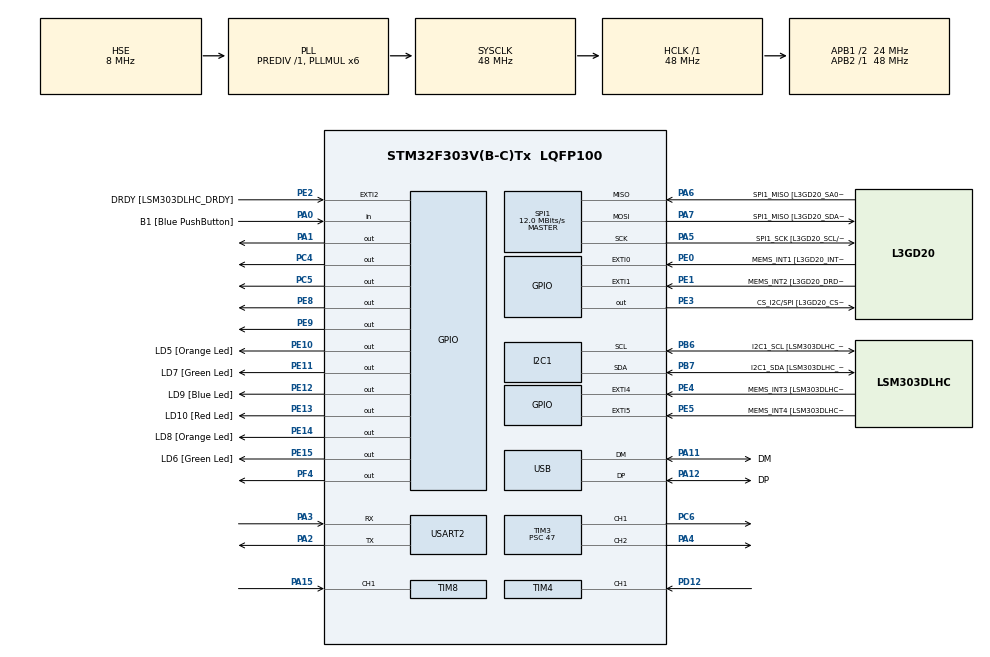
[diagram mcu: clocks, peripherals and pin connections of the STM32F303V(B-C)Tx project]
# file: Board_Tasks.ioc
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I2C1.Timing=0x00201D2B
I2C1.Timing-I2C=0x2000090E
Mcu.Family=STM32F3
Mcu.Name=STM32F303V(B-C)Tx
Mcu.Package=LQFP100
NVIC.PriorityGroup=NVIC_PRIORITYGROUP_0
NVIC.TIM2_IRQn=true\:0\:0\:false\:false\:true\:true\:true\:true
NVIC.TIM4_IRQn=true\:0\:0\:false\:false\:true\:true\:true\:true
NVIC.TIM8_CC_IRQn=true\:0\:0\:false\:false\:true\:true\:true\:true
PA0.GPIO_Label=B1 [Blue PushButton]
PA0.Signal=GPIO_Input
PA1.Signal=GPIO_Output
PA11.GPIO_Label=DM
PA11.Mode=Device
PA11.Signal=USB_DM
PA12.GPIO_Label=DP
PA12.Mode=Device
PA12.Signal=USB_DP
PA13.GPIO_Label=SWDIO
PA13.Mode=Serial_Wire
PA13.Signal=SYS_JTMS-SWDIO
PA14.GPIO_Label=SWCLK
PA14.Mode=Serial_Wire
PA14.Signal=SYS_JTCK-SWCLK
PA15.Signal=S_TIM8_CH1
PA2.Mode=Asynchronous
PA2.Signal=USART2_TX
PA3.Mode=Asynchronous
PA3.Signal=USART2_RX
PA4.Signal=S_TIM3_CH2
PA5.GPIO_Label=SPI1_SCK [L3GD20_SCL/SPC]
PA5.Mode=Full_Duplex_Master
PA5.Signal=SPI1_SCK
PA6.GPIO_Label=SPI1_MISO [L3GD20_SA0/SDO]
PA6.Mode=Full_Duplex_Master
PA6.Signal=SPI1_MISO
PA7.GPIO_Label=SPI1_MISO [L3GD20_SDA/SDI/SDO]
PA7.Mode=Full_Duplex_Master
PA7.Signal=SPI1_MOSI
PB3.GPIO_Label=SWO
PB3.Signal=SYS_JTDO-TRACESWO
PB6.GPIO_Label=I2C1_SCL [LSM303DLHC_SCL]
PB6.GPIO_Pu=GPIO_PULLUP
PB6.Mode=I2C
PB6.Signal=I2C1_SCL
PB7.GPIO_Label=I2C1_SDA [LSM303DLHC_SDA]
PB7.GPIO_Pu=GPIO_PULLUP
PB7.Mode=I2C
PB7.Signal=I2C1_SDA
PC14-OSC32_IN.GPIO_Label=OSC32_IN
PC14-OSC32_IN.Signal=RCC_OSC32_IN
PC15-OSC32_OUT.GPIO_Label=OSC32_OUT
PC15-OSC32_OUT.Signal=RCC_OSC32_OUT
PC4.Signal=GPIO_Output
PC5.Signal=GPIO_Output
PC6.Signal=S_TIM3_CH1
PD12.Signal=S_TIM4_CH1
PE0.GPIO_Label=MEMS_INT1 [L3GD20_INT1]
PE0.GPIO_ModeDefaultEXTI=GPIO_MODE_EVT_RISING
PE0.Signal=GPXTI0
PE1.GPIO_Label=MEMS_INT2 [L3GD20_DRDY/INT2]
PE1.GPIO_ModeDefaultEXTI=GPIO_MODE_EVT_RISING
PE1.Signal=GPXTI1
PE10.GPIO_Label=LD5 [Orange Led]
PE10.Signal=GPIO_Output
PE11.GPIO_Label=LD7 [Green Led]
PE11.Signal=GPIO_Output
PE12.GPIO_Label=LD9 [Blue Led]
PE12.Signal=GPIO_Output
PE13.GPIO_Label=LD10 [Red Led]
PE13.Signal=GPIO_Output
PE14.GPIO_Label=LD8 [Orange Led]
PE14.Signal=GPIO_Output
PE15.GPIO_Label=LD6 [Green Led]
PE15.Signal=GPIO_Output
PE2.GPIO_Label=DRDY [LSM303DLHC_DRDY]
PE2.GPIO_ModeDefaultEXTI=GPIO_MODE_EVT_RISING
PE2.Signal=GPXTI2
PE3.GPIO_Label=CS_I2C/SPI [L3GD20_CS_I2C/SPI]
PE3.Signal=GPIO_Output
PE4.GPIO_Label=MEMS_INT3 [LSM303DLHC_INT1]
PE4.GPIO_ModeDefaultEXTI=GPIO_MODE_EVT_RISING
PE4.Signal=GPXTI4
PE5.GPIO_Label=MEMS_INT4 [LSM303DLHC_INT2]
PE5.GPIO_ModeDefaultEXTI=GPIO_MODE_EVT_RISING
PE5.Signal=GPXTI5
PE8.Signal=GPIO_Output
PE9.Signal=GPIO_Output
PF0-OSC_IN.GPIO_Label=OSC_IN
PF0-OSC_IN.Mode=HSE-External-Clock-Source
PF0-OSC_IN.Signal=RCC_OSC_IN
PF1-OSC_OUT.GPIO_Label=OSC_OUT
PF1-OSC_OUT.Signal=RCC_OSC_OUT
PF4.Signal=GPIO_Output
ProjectManager.HeapSize=0x200
ProjectManager.StackSize=0x400
ProjectManager.TargetToolchain=CMake
RCC.AHBFreq_Value=48000000
RCC.APB1CLKDivider=RCC_HCLK_DIV2
RCC.APB1Freq_Value=24000000
RCC.APB1TimFreq_Value=48000000
RCC.APB2Freq_Value=48000000
RCC.APB2TimFreq_Value=48000000
RCC.CortexFreq_Value=48000000
RCC.HCLKFreq_Value=48000000
RCC.HSE_VALUE=8000000
RCC.HSI_VALUE=8000000
RCC.LSE_VALUE=32768
RCC.PLLMUL=RCC_PLL_MUL6
RCC.SYSCLKFreq_VALUE=48000000
RCC.SYSCLKSourceVirtual=RCC_SYSCLKSOURCE_PLLCLK
RCC.USBFreq_Value=48000000
SH.S_TIM3_CH1.0=TIM3_CH1,PWM Generation1 CH1
SH.S_TIM3_CH2.0=TIM3_CH2,PWM Generation2 CH2
SH.S_TIM4_CH1.0=TIM4_CH1,Input_Capture1_from_TI1
SH.S_TIM8_CH1.0=TIM8_CH1,Input_Capture1_from_TI1
SPI1.BaudRatePrescaler=SPI_BAUDRATEPRESCALER_4
SPI1.BaudRatePrescaler-Full_Duplex_Master=SPI_BAUDRATEPRESCALER_2
SPI1.CLKPhase=SPI_PHASE_2EDGE
SPI1.CLKPolarity=SPI_POLARITY_HIGH
SPI1.CalculateBaudRate=12.0 MBits/s
SPI1.CalculateBaudRate-Full_Duplex_Master=24.0 MBits/s
SPI1.DataSize=SPI_DATASIZE_8BIT
SPI1.Direction=SPI_DIRECTION_2LINES
SPI1.Mode=SPI_MODE_MASTER
SPI1.Mode-Full_Duplex_Master=SPI_MODE_MASTER
SPI1.VirtualType=VM_MASTER
TIM2.Period=99
TIM2.Prescaler=4799
TIM3.Channel-PWM\ Generation1\ CH1=TIM_CHANNEL_1
TIM3.Channel-PWM\ Generation2\ CH2=TIM_CHANNEL_2
TIM3.Prescaler=47
TIM4.Channel-Input_Capture1_from_TI1=TIM_CHANNEL_1
TIM4.Prescaler=71
TIM8.Channel-Input_Capture1_from_TI1=TIM_CHANNEL_1
TIM8.Prescaler=71
USART2.VirtualMode-Asynchronous=VM_ASYNC
VP_TIM2_VS_ClockSourceINT.Mode=Internal
board=STM32F3DISCOVERY

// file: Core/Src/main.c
/* USER CODE BEGIN Header */
/**
 ******************************************************************************
 * @file           : main.c
 * @brief          : Main program body
 ******************************************************************************
 * @attention
 *
 * Copyright (c) 2025 STMicroelectronics.
 * All rights reserved.
 *
 * This software is licensed under terms that can be found in the LICENSE file
 * in the root directory of this software component.
 * If no LICENSE file comes with this software, it is provided AS-IS.
 *
 ******************************************************************************
 */
/* USER CODE END Header */
#include "main.h"

/* USER CODE BEGIN Includes */
#include "string.h"
#include <stdio.h>
#include <math.h>
#include <stdarg.h>

#include "config.h"
#include "pid.h"
#include "sensors.h"
#include "motors.h"
#include "bluetooth.h"

#ifndef M_PI
#define M_PI 3.14159265358979323846f
#endif
/* USER CODE END Includes */

/* USER CODE BEGIN PD */

// Accelerometer (LSM303AGR) over I2C
#define LSM303AGR_ACC_ADDR (0x19 << 1)
#define CTRL_REG1_A 0x20
#define CTRL_REG4_A 0x23
#define OUT_X_L_A 0x28

// Gyro (I3G4250D) over SPI
#define WHO_AM_I_G 0x0F
#define CTRL_REG1_G 0x20
#define CTRL_REG4_G 0x23
#define OUT_Y_L_G 0x2A
#define OUT_Y_H_G 0x2B

// Gyro SPI CS on PE3 (built-in on F3-Discovery)
#define CS_LOW() HAL_GPIO_WritePin(GPIOE, CS_I2C_SPI_Pin, GPIO_PIN_RESET)
#define CS_HIGH() HAL_GPIO_WritePin(GPIOE, CS_I2C_SPI_Pin, GPIO_PIN_SET)

// LEDs we use for GPIO tasks
#define LED_100HZ_PORT GPIOE // LD3 -> PE9
#define LED_100HZ_PIN GPIO_PIN_9

#define LED_10HZ_PORT GPIOE // LD4 -> PE8
#define LED_10HZ_PIN GPIO_PIN_8

#define BT_BUFFER_SIZE 128

#define PWM_MIN 200 // don't go below ~20% or motor may stall
#define PWM_MAX 999
#define DT 0.001f // control loop runs every 50 ms (20 Hz)

volatile char bt_rx_buffer[BT_BUFFER_SIZE];
volatile uint8_t bt_rx_index = 0;
volatile uint8_t bt_data_ready = 0;
volatile uint8_t imu_streaming_enabled = 0;
volatile uint8_t imu_send_counter = 0;

// Initialize PIDs
BalancePID_t balance_pid = {
    .setpoint = 0.0f, // 0 degrees = upright
    .kp = 10.0f,      // Start values - tune these!
    .ki = 0.0f,       // Start with 0, add later if needed
    .kd = 0.0f,
    .integral = 0.0f,
    .prev_error = 0.0f};

/* USER CODE END PD */

I2C_HandleTypeDef hi2c1;

SPI_HandleTypeDef hspi1;

TIM_HandleTypeDef htim2;
TIM_HandleTypeDef htim3;
TIM_HandleTypeDef htim4;
TIM_HandleTypeDef htim8;

UART_HandleTypeDef huart2;

PCD_HandleTypeDef hpcd_USB_FS;

/* USER CODE BEGIN PV */

// Encoder setup
#define ENCODER_Pin GPIO_PIN_12
#define ENCODER_PORT GPIOD

// Constants
#define PPR 330 // pulses per revolution
#define RPM_CALC_INTERVAL 100

// Globals
uint32_t last_pid_time = 0;

volatile uint32_t last_rpm_calc_time = 0;
// Right motor encoder
volatile uint32_t encoder_right_count = 0;
volatile float rpm_right = 0.0f;

// Left motor encoder (NEW)
volatile uint32_t encoder_left_count = 0;
volatile float rpm_left = 0.0f;

SensorData sensor;

// shared between ISR and main
 float accAngleY = 0.0f; // tilt from accelerometer (deg)
 float angleX = 0.0f;    // fused angle (deg)
float dt = 0.01f;                // 100 Hz

volatile uint8_t flag_10Hz = 0; // set by ISR every 10 periods

/* USER CODE END PV */

void SystemClock_Config(void);
static void MX_GPIO_Init(void);
static void MX_I2C1_Init(void);
static void MX_SPI1_Init(void);
static void MX_TIM2_Init(void);
static void MX_USART2_UART_Init(void);
static void MX_USB_PCD_Init(void);
static void MX_TIM3_Init(void);
static void MX_TIM4_Init(void);
static void MX_TIM8_Init(void);
/* USER CODE BEGIN PFP */

// printf support over USART2
int _write(int file, char *ptr, int len);

/* USER CODE END PFP */

/* USER CODE BEGIN 0 */

// ===== BALANCE PID COMPUTE =====

int _write(int file, char *ptr, int len)
{
  HAL_UART_Transmit(&huart2, (uint8_t *)ptr, len, HAL_MAX_DELAY);
  return len;
}

/* USER CODE END 0 */

int main(void)
{

  /* MCU Configuration--------------------------------------------------------*/

  /* Reset of all peripherals, Initializes the Flash interface and the SyHAL_Init();

  /* Configure the system clock */
  SystemClock_Config();

  /* Initialize all configured peripherals */
  MX_GPIO_Init();
  MX_I2C1_Init();
  MX_SPI1_Init();
  MX_TIM2_Init();
  MX_USART2_UART_Init();
  MX_USB_PCD_Init();
  MX_TIM3_Init();
  MX_TIM4_Init();
  MX_TIM8_Init();
  /* USER CODE BEGIN 2 */

  HAL_TIM_PWM_Start(&htim3, TIM_CHANNEL_1);
  HAL_TIM_PWM_Start(&htim3, TIM_CHANNEL_2);
  __HAL_TIM_SET_COMPARE(&htim3, TIM_CHANNEL_1, 32768); // 50% of 65535
  __HAL_TIM_SET_COMPARE(&htim3, TIM_CHANNEL_2, 32768);
  Motor_SetSpeed(MOTOR_LEFT, 0);
  Motor_SetSpeed(MOTOR_RIGHT, 0);

  HAL_GPIO_WritePin(GPIOA, GPIO_PIN_1, GPIO_PIN_SET);
  HAL_GPIO_WritePin(GPIOF, GPIO_PIN_4, GPIO_PIN_RESET);
  HAL_TIM_PWM_Start(&htim3, TIM_CHANNEL_1);
  __HAL_TIM_SET_COMPARE(&htim3, TIM_CHANNEL_1, 800); // 50% duty cycle

  HAL_GPIO_WritePin(GPIOC, GPIO_PIN_4, GPIO_PIN_SET);   // BIN1
  HAL_GPIO_WritePin(GPIOC, GPIO_PIN_5, GPIO_PIN_RESET); // BIN2
  HAL_TIM_PWM_Start(&htim3, TIM_CHANNEL_2);             // Left PWM
  __HAL_TIM_SET_COMPARE(&htim3, TIM_CHANNEL_2, 800);    // 50% duty

  HAL_UART_Receive_IT(&huart2, (uint8_t *)&bt_rx_buffer[bt_rx_index], 1);

  // 3 & 4: Enable accelerometer and gyro
  Init_LSM();
  Init_Gyro();

  // Calibrate sensors
  Offset_LSM(&sensor);
  Calibrate_Gyro(&sensor);

  // Start TIM2 with interrupt -> ISR at 100 Hz
  HAL_TIM_Base_Start_IT(&htim2);

  printf("\r\n=== Self-Balancing Robot ===\r\n");
  printf("Balance PID: Kp=%.1f Ki=%.1f Kd=%.1f\r\n",
         balance_pid.kp, balance_pid.ki, balance_pid.kd);
  /* USER CODE END 2 */

  /* Infinite loop */

  /* USER CODE BEGIN WHILE */
  while (1)
  {
    // === 10ms Control Loop (100Hz) ===
    uint32_t now = HAL_GetTick();
    static uint32_t last_control_time = 0;

    if (now - last_control_time >= 10) // 100Hz control
    {
      last_control_time = now;
      float dt = 0.01f; // 10ms = 0.01s

      // --- SAFETY CHECK ---
      if (Is_Fallen(angleX))
      {
        Motor_SetSpeed(MOTOR_LEFT, 0);
        Motor_SetSpeed(MOTOR_RIGHT, 0);
        balance_pid.integral = 0.0f;
        printf("FALLEN! Angle: %.1f\r\n", angleX);
        continue;
      }

      // --- Balance PID (Angle -> PWM) ---
      float pwm = Balance_PID_Compute(&balance_pid, angleX, dt);

      // Apply same PWM to both motors
      Motor_SetSpeed(MOTOR_LEFT, (int16_t)pwm);
      Motor_SetSpeed(MOTOR_RIGHT, (int16_t)pwm);

      // --- Debug Output with Error ---
      static uint8_t print_counter = 0;
      print_counter++;
      if (print_counter >= 10) // Print every 100ms
      {
        print_counter = 0;
        float error = balance_pid.setpoint - angleX;
        printf("Ang:%.2f | Err:%.2f | PWM:%.0f | I:%.2f\r\n",
               angleX, error, pwm, balance_pid.integral);
      }
    }

    // Bluetooth commands
    if (bt_data_ready)
    {
      bt_data_ready = 0;
      printf("BT CMD: %s\r\n", (char *)bt_rx_buffer);
      ProcessBluetoothCommand((char *)bt_rx_buffer);
      memset((void *)bt_rx_buffer, 0, BT_BUFFER_SIZE);
      bt_rx_index = 0;
    }

    // 10Hz flag for other tasks
    if (flag_10Hz)
    {
      flag_10Hz = 0;
      HAL_GPIO_TogglePin(LED_10HZ_PORT, LED_10HZ_PIN);
    }

    /* USER CODE END WHILE */
  }
}

void SystemClock_Config(void)
{
  RCC_OscInitTypeDef RCC_OscInitStruct = {0};
  RCC_ClkInitTypeDef RCC_ClkInitStruct = {0};
  RCC_PeriphCLKInitTypeDef PeriphClkInit = {0};

  /** Initializes the RCC Oscillators according to the specified parameters
   * in the RCC_OscInitTypeDef structure.
   */
  RCC_OscInitStruct.OscillatorType = RCC_OSCILLATORTYPE_HSI | RCC_OSCILLATORTYPE_HSE;
  RCC_OscInitStruct.HSEState = RCC_HSE_BYPASS;
  RCC_OscInitStruct.HSEPredivValue = RCC_HSE_PREDIV_DIV1;
  RCC_OscInitStruct.HSIState = RCC_HSI_ON;
  RCC_OscInitStruct.HSICalibrationValue = RCC_HSICALIBRATION_DEFAULT;
  RCC_OscInitStruct.PLL.PLLState = RCC_PLL_ON;
  RCC_OscInitStruct.PLL.PLLSource = RCC_PLLSOURCE_HSE;
  RCC_OscInitStruct.PLL.PLLMUL = RCC_PLL_MUL6;
  if (HAL_RCC_OscConfig(&RCC_OscInitStruct) != HAL_OK)
  {
    Error_Handler();
  }

  /** Initializes the CPU, AHB and APB buses clocks
   */
  RCC_ClkInitStruct.ClockType = RCC_CLOCKTYPE_HCLK | RCC_CLOCKTYPE_SYSCLK | RCC_CLOCKTYPE_PCLK1 | RCC_CLOCKTYPE_PCLK2;
  RCC_ClkInitStruct.SYSCLKSource = RCC_SYSCLKSOURCE_PLLCLK;
  RCC_ClkInitStruct.AHBCLKDivider = RCC_SYSCLK_DIV1;
  RCC_ClkInitStruct.APB1CLKDivider = RCC_HCLK_DIV2;
  RCC_ClkInitStruct.APB2CLKDivider = RCC_HCLK_DIV1;

  if (HAL_RCC_ClockConfig(&RCC_ClkInitStruct, FLASH_LATENCY_1) != HAL_OK)
  {
    Error_Handler();
  }
  PeriphClkInit.PeriphClockSelection = RCC_PERIPHCLK_USB | RCC_PERIPHCLK_USART2 | RCC_PERIPHCLK_I2C1 | RCC_PERIPHCLK_TIM8;
  PeriphClkInit.Usart2ClockSelection = RCC_USART2CLKSOURCE_PCLK1;
  PeriphClkInit.I2c1ClockSelection = RCC_I2C1CLKSOURCE_HSI;
  PeriphClkInit.USBClockSelection = RCC_USBCLKSOURCE_PLL;
  PeriphClkInit.Tim8ClockSelection = RCC_TIM8CLK_HCLK;
  if (HAL_RCCEx_PeriphCLKConfig(&PeriphClkInit) != HAL_OK)
  {
    Error_Handler();
  }
}

static void MX_I2C1_Init(void)
{

  hi2c1.Instance = I2C1;
  hi2c1.Init.Timing = 0x00201D2B;
  hi2c1.Init.OwnAddress1 = 0;
  hi2c1.Init.AddressingMode = I2C_ADDRESSINGMODE_7BIT;
  hi2c1.Init.DualAddressMode = I2C_DUALADDRESS_DISABLE;
  hi2c1.Init.OwnAddress2 = 0;
  hi2c1.Init.OwnAddress2Masks = I2C_OA2_NOMASK;
  hi2c1.Init.GeneralCallMode = I2C_GENERALCALL_DISABLE;
  hi2c1.Init.NoStretchMode = I2C_NOSTRETCH_DISABLE;
  if (HAL_I2C_Init(&hi2c1) != HAL_OK)
  {
    Error_Handler();
  }

  /** Configure Analogue filter
   */
  if (HAL_I2CEx_ConfigAnalogFilter(&hi2c1, I2C_ANALOGFILTER_ENABLE) != HAL_OK)
  {
    Error_Handler();
  }

  /** Configure Digital filter
   */
  if (HAL_I2CEx_ConfigDigitalFilter(&hi2c1, 0) != HAL_OK)
  {
    Error_Handler();
  }
}

static void MX_SPI1_Init(void)
{

  /* SPI1 parameter configuration*/
  hspi1.Instance = SPI1;
  hspi1.Init.Mode = SPI_MODE_MASTER;
  hspi1.Init.Direction = SPI_DIRECTION_2LINES;
  hspi1.Init.DataSize = SPI_DATASIZE_8BIT;
  hspi1.Init.CLKPolarity = SPI_POLARITY_HIGH;
  hspi1.Init.CLKPhase = SPI_PHASE_2EDGE;
  hspi1.Init.NSS = SPI_NSS_SOFT;
  hspi1.Init.BaudRatePrescaler = SPI_BAUDRATEPRESCALER_4;
  hspi1.Init.FirstBit = SPI_FIRSTBIT_MSB;
  hspi1.Init.TIMode = SPI_TIMODE_DISABLE;
  hspi1.Init.CRCCalculation = SPI_CRCCALCULATION_DISABLE;
  hspi1.Init.CRCPolynomial = 7;
  hspi1.Init.CRCLength = SPI_CRC_LENGTH_DATASIZE;
  hspi1.Init.NSSPMode = SPI_NSS_PULSE_DISABLE;
  if (HAL_SPI_Init(&hspi1) != HAL_OK)
  {
    Error_Handler();
  }
}

static void MX_TIM2_Init(void)
{

  TIM_ClockConfigTypeDef sClockSourceConfig = {0};
  TIM_MasterConfigTypeDef sMasterConfig = {0};

  htim2.Instance = TIM2;
  htim2.Init.Prescaler = 4799;
  htim2.Init.CounterMode = TIM_COUNTERMODE_UP;
  htim2.Init.Period = 99;
  htim2.Init.ClockDivision = TIM_CLOCKDIVISION_DIV1;
  htim2.Init.AutoReloadPreload = TIM_AUTORELOAD_PRELOAD_DISABLE;
  if (HAL_TIM_Base_Init(&htim2) != HAL_OK)
  {
    Error_Handler();
  }
  sClockSourceConfig.ClockSource = TIM_CLOCKSOURCE_INTERNAL;
  if (HAL_TIM_ConfigClockSource(&htim2, &sClockSourceConfig) != HAL_OK)
  {
    Error_Handler();
  }
  sMasterConfig.MasterOutputTrigger = TIM_TRGO_RESET;
  sMasterConfig.MasterSlaveMode = TIM_MASTERSLAVEMODE_DISABLE;
  if (HAL_TIMEx_MasterConfigSynchronization(&htim2, &sMasterConfig) != HAL_OK)
  {
    Error_Handler();
  }
}

static void MX_TIM3_Init(void)
{

  TIM_MasterConfigTypeDef sMasterConfig = {0};
  TIM_OC_InitTypeDef sConfigOC = {0};

  htim3.Instance = TIM3;
  htim3.Init.Prescaler = 47;
  htim3.Init.CounterMode = TIM_COUNTERMODE_UP;
  htim3.Init.Period = 999;
  htim3.Init.ClockDivision = TIM_CLOCKDIVISION_DIV1;
  htim3.Init.AutoReloadPreload = TIM_AUTORELOAD_PRELOAD_DISABLE;
  if (HAL_TIM_PWM_Init(&htim3) != HAL_OK)
  {
    Error_Handler();
  }
  sMasterConfig.MasterOutputTrigger = TIM_TRGO_RESET;
  sMasterConfig.MasterSlaveMode = TIM_MASTERSLAVEMODE_DISABLE;
  if (HAL_TIMEx_MasterConfigSynchronization(&htim3, &sMasterConfig) != HAL_OK)
  {
    Error_Handler();
  }
  sConfigOC.OCMode = TIM_OCMODE_PWM1;
  sConfigOC.Pulse = 0;
  sConfigOC.OCPolarity = TIM_OCPOLARITY_HIGH;
  sConfigOC.OCFastMode = TIM_OCFAST_DISABLE;
  if (HAL_TIM_PWM_ConfigChannel(&htim3, &sConfigOC, TIM_CHANNEL_1) != HAL_OK)
  {
    Error_Handler();
  }
  if (HAL_TIM_PWM_ConfigChannel(&htim3, &sConfigOC, TIM_CHANNEL_2) != HAL_OK)
  {
    Error_Handler();
  }
  HAL_TIM_MspPostInit(&htim3);
}

static void MX_TIM4_Init(void)
{

  TIM_MasterConfigTypeDef sMasterConfig = {0};
  TIM_IC_InitTypeDef sConfigIC = {0};

  htim4.Instance = TIM4;
  htim4.Init.Prescaler = 71;
  htim4.Init.CounterMode = TIM_COUNTERMODE_UP;
  htim4.Init.Period = 65535;
  htim4.Init.ClockDivision = TIM_CLOCKDIVISION_DIV1;
  htim4.Init.AutoReloadPreload = TIM_AUTORELOAD_PRELOAD_DISABLE;
  if (HAL_TIM_IC_Init(&htim4) != HAL_OK)
  {
    Error_Handler();
  }
  sMasterConfig.MasterOutputTrigger = TIM_TRGO_RESET;
  sMasterConfig.MasterSlaveMode = TIM_MASTERSLAVEMODE_DISABLE;
  if (HAL_TIMEx_MasterConfigSynchronization(&htim4, &sMasterConfig) != HAL_OK)
  {
    Error_Handler();
  }
  sConfigIC.ICPolarity = TIM_INPUTCHANNELPOLARITY_RISING;
  sConfigIC.ICSelection = TIM_ICSELECTION_DIRECTTI;
  sConfigIC.ICPrescaler = TIM_ICPSC_DIV1;
  sConfigIC.ICFilter = 0;
  if (HAL_TIM_IC_ConfigChannel(&htim4, &sConfigIC, TIM_CHANNEL_1) != HAL_OK)
  {
    Error_Handler();
  }
}

static void MX_TIM8_Init(void)
{

  TIM_MasterConfigTypeDef sMasterConfig = {0};
  TIM_IC_InitTypeDef sConfigIC = {0};

  htim8.Instance = TIM8;
  htim8.Init.Prescaler = 71;
  htim8.Init.CounterMode = TIM_COUNTERMODE_UP;
  htim8.Init.Period = 65535;
  htim8.Init.ClockDivision = TIM_CLOCKDIVISION_DIV1;
  htim8.Init.RepetitionCounter = 0;
  htim8.Init.AutoReloadPreload = TIM_AUTORELOAD_PRELOAD_DISABLE;
  if (HAL_TIM_IC_Init(&htim8) != HAL_OK)
  {
    Error_Handler();
  }
  sMasterConfig.MasterOutputTrigger = TIM_TRGO_RESET;
  sMasterConfig.MasterOutputTrigger2 = TIM_TRGO2_RESET;
  sMasterConfig.MasterSlaveMode = TIM_MASTERSLAVEMODE_DISABLE;
  if (HAL_TIMEx_MasterConfigSynchronization(&htim8, &sMasterConfig) != HAL_OK)
  {
    Error_Handler();
  }
  sConfigIC.ICPolarity = TIM_INPUTCHANNELPOLARITY_RISING;
  sConfigIC.ICSelection = TIM_ICSELECTION_DIRECTTI;
  sConfigIC.ICPrescaler = TIM_ICPSC_DIV1;
  sConfigIC.ICFilter = 0;
  if (HAL_TIM_IC_ConfigChannel(&htim8, &sConfigIC, TIM_CHANNEL_1) != HAL_OK)
  {
    Error_Handler();
  }
}

static void MX_USART2_UART_Init(void)
{

  huart2.Instance = USART2;
  huart2.Init.BaudRate = 9600;
  huart2.Init.WordLength = UART_WORDLENGTH_8B;
  huart2.Init.StopBits = UART_STOPBITS_1;
  huart2.Init.Parity = UART_PARITY_NONE;
  huart2.Init.Mode = UART_MODE_TX_RX;
  huart2.Init.HwFlowCtl = UART_HWCONTROL_NONE;
  huart2.Init.OverSampling = UART_OVERSAMPLING_16;
  huart2.Init.OneBitSampling = UART_ONE_BIT_SAMPLE_DISABLE;
  huart2.AdvancedInit.AdvFeatureInit = UART_ADVFEATURE_NO_INIT;
  if (HAL_UART_Init(&huart2) != HAL_OK)
  {
    Error_Handler();
  }
}

static void MX_USB_PCD_Init(void)
{

  hpcd_USB_FS.Instance = USB;
  hpcd_USB_FS.Init.dev_endpoints = 8;
  hpcd_USB_FS.Init.speed = PCD_SPEED_FULL;
  hpcd_USB_FS.Init.phy_itface = PCD_PHY_EMBEDDED;
  hpcd_USB_FS.Init.low_power_enable = DISABLE;
  hpcd_USB_FS.Init.battery_charging_enable = DISABLE;
  if (HAL_PCD_Init(&hpcd_USB_FS) != HAL_OK)
  {
    Error_Handler();
  }
}

static void MX_GPIO_Init(void)
{
  GPIO_InitTypeDef GPIO_InitStruct = {0};

  /* GPIO Ports Clock Enable */
  __HAL_RCC_GPIOE_CLK_ENABLE();
  __HAL_RCC_GPIOC_CLK_ENABLE();
  __HAL_RCC_GPIOF_CLK_ENABLE();
  __HAL_RCC_GPIOA_CLK_ENABLE();
  __HAL_RCC_GPIOD_CLK_ENABLE();
  __HAL_RCC_GPIOB_CLK_ENABLE();

  /*Configure GPIO pin Output Level */
  HAL_GPIO_WritePin(GPIOE, CS_I2C_SPI_Pin | GPIO_PIN_8 | GPIO_PIN_9 | LD5_Pin | LD7_Pin | LD9_Pin | LD10_Pin | LD8_Pin | LD6_Pin, GPIO_PIN_RESET);

  /*Configure GPIO pin Output Level */
  HAL_GPIO_WritePin(GPIOA, GPIO_PIN_1, GPIO_PIN_RESET);

  /*Configure GPIO pin Output Level */
  HAL_GPIO_WritePin(GPIOF, GPIO_PIN_4, GPIO_PIN_RESET);

  /*Configure GPIO pin Output Level */
  HAL_GPIO_WritePin(GPIOC, GPIO_PIN_4 | GPIO_PIN_5, GPIO_PIN_RESET);

  /*Configure GPIO pins : DRDY_Pin MEMS_INT3_Pin MEMS_INT4_Pin MEMS_INT1_Pin
                           MEMS_INT2_Pin */
  GPIO_InitStruct.Pin = DRDY_Pin | MEMS_INT3_Pin | MEMS_INT4_Pin | MEMS_INT1_Pin | MEMS_INT2_Pin;
  GPIO_InitStruct.Mode = GPIO_MODE_EVT_RISING;
  GPIO_InitStruct.Pull = GPIO_NOPULL;
  HAL_GPIO_Init(GPIOE, &GPIO_InitStruct);

  /*Configure GPIO pins : CS_I2C_SPI_Pin PE8 PE9 LD5_Pin
                           LD7_Pin LD9_Pin LD10_Pin LD8_Pin
                           LD6_Pin */
  GPIO_InitStruct.Pin = CS_I2C_SPI_Pin | GPIO_PIN_8 | GPIO_PIN_9 | LD5_Pin | LD7_Pin | LD9_Pin | LD10_Pin | LD8_Pin | LD6_Pin;
  GPIO_InitStruct.Mode = GPIO_MODE_OUTPUT_PP;
  GPIO_InitStruct.Pull = GPIO_NOPULL;
  GPIO_InitStruct.Speed = GPIO_SPEED_FREQ_LOW;
  HAL_GPIO_Init(GPIOE, &GPIO_InitStruct);

  /*Configure GPIO pin : B1_Pin */
  GPIO_InitStruct.Pin = B1_Pin;
  GPIO_InitStruct.Mode = GPIO_MODE_INPUT;
  GPIO_InitStruct.Pull = GPIO_NOPULL;
  HAL_GPIO_Init(B1_GPIO_Port, &GPIO_InitStruct);

  /*Configure GPIO pin : PA1 */
  GPIO_InitStruct.Pin = GPIO_PIN_1;
  GPIO_InitStruct.Mode = GPIO_MODE_OUTPUT_PP;
  GPIO_InitStruct.Pull = GPIO_NOPULL;
  GPIO_InitStruct.Speed = GPIO_SPEED_FREQ_LOW;
  HAL_GPIO_Init(GPIOA, &GPIO_InitStruct);

  /*Configure GPIO pin : PF4 */
  GPIO_InitStruct.Pin = GPIO_PIN_4;
  GPIO_InitStruct.Mode = GPIO_MODE_OUTPUT_PP;
  GPIO_InitStruct.Pull = GPIO_NOPULL;
  GPIO_InitStruct.Speed = GPIO_SPEED_FREQ_LOW;
  HAL_GPIO_Init(GPIOF, &GPIO_InitStruct);

  /*Configure GPIO pins : PC4 PC5 */
  GPIO_InitStruct.Pin = GPIO_PIN_4 | GPIO_PIN_5;
  GPIO_InitStruct.Mode = GPIO_MODE_OUTPUT_PP;
  GPIO_InitStruct.Pull = GPIO_NOPULL;
  GPIO_InitStruct.Speed = GPIO_SPEED_FREQ_LOW;
  HAL_GPIO_Init(GPIOC, &GPIO_InitStruct);

}

/* USER CODE BEGIN 4 */

void HAL_TIM_IC_CaptureCallback(TIM_HandleTypeDef *htim)
{
}

// ===== UART Receive Callback (Bluetooth) =====
void HAL_UART_RxCpltCallback(UART_HandleTypeDef *huart)
{
  if (huart->Instance == USART1)
  {
    char c = bt_rx_buffer[bt_rx_index];

    // Check for command terminator
    if (c == '\n' || c == '\r')
    {
      if (bt_rx_index > 0)
      {
        bt_rx_buffer[bt_rx_index] = '\0';
        bt_data_ready = 1;
      }
    }
    else
    {
      bt_rx_index++;
      if (bt_rx_index >= BT_BUFFER_SIZE - 1)
      {
        bt_rx_index = 0; // Overflow protection
      }
    }

    // Re-enable interrupt for next byte
    HAL_UART_Receive_IT(&huart2, (uint8_t *)&bt_rx_buffer[bt_rx_index], 1);
  }
}

// 1 & 5: 100 Hz timer ISR: toggle LED + loop filter + 10 Hz flag
void HAL_TIM_PeriodElapsedCallback(TIM_HandleTypeDef *htim)
{
  if (htim->Instance == TIM2)
  {
    // 1. GPIO toggle at 100 Hz
    HAL_GPIO_TogglePin(LED_100HZ_PORT, LED_100HZ_PIN);

    // 3. Read accelerometer @10 Hz
    Read_Accel(&sensor, 1); // apply offset

    // 4. Read gyro @10 Hz
    Read_Gyro(&sensor);

    // Compute tilt from accelerometer (Y axis)
    float y_norm = sensor.ay / 9.81f;
    if (y_norm > 1.0f)
      y_norm = 1.0f;
    if (y_norm < -1.0f)
      y_norm = -1.0f;

    accAngleY = asinf(y_norm) * 180.0f / M_PI;

    // 5. Complementary loop filter at 100 Hz
    angleX = 0.98f * (angleX + sensor.gy * dt) + 0.02f * accAngleY;

    // generate 10 Hz flag
    static uint8_t tick = 0;
    tick++;
    if (tick >= 10)
    {
      tick = 0;
      flag_10Hz = 1;
    }
  }
}

/* USER CODE END 4 */

void Error_Handler(void)
{
  __disable_irq();
  while (1)
  {
  }
}
